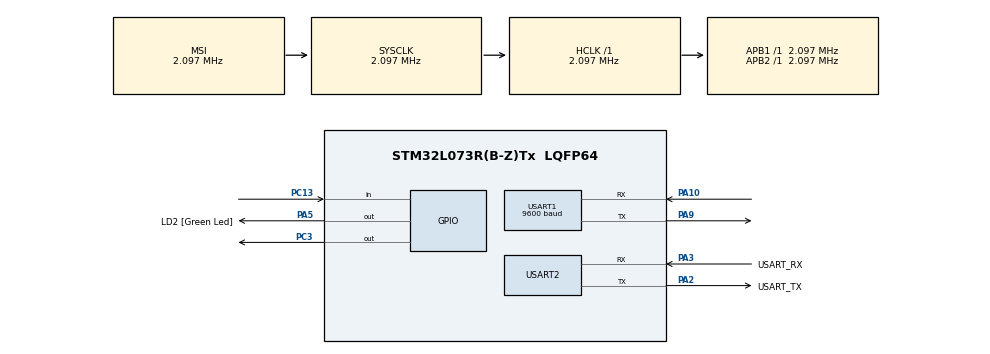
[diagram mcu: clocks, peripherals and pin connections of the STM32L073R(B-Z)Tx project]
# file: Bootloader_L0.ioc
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Mcu.Family=STM32L0
Mcu.Name=STM32L073R(B-Z)Tx
Mcu.Package=LQFP64
PA10.Mode=Asynchronous
PA10.Signal=USART1_RX
PA13.GPIO_Label=TMS
PA13.Mode=Serial_Wire
PA13.Signal=SYS_SWDIO
PA14.GPIO_Label=TCK
PA14.Mode=Serial_Wire
PA14.Signal=SYS_SWCLK
PA2.GPIO_Label=USART_TX
PA2.Mode=Asynchronous
PA2.Signal=USART2_TX
PA3.GPIO_Label=USART_RX
PA3.Mode=Asynchronous
PA3.Signal=USART2_RX
PA5.GPIO_Label=LD2 [Green Led]
PA5.Signal=GPIO_Output
PA9.Mode=Asynchronous
PA9.Signal=USART1_TX
PC13.Signal=GPIO_Input
PC14-OSC32_IN.Mode=LSE-External-Oscillator
PC14-OSC32_IN.Signal=RCC_OSC32_IN
PC15-OSC32_OUT.Mode=LSE-External-Oscillator
PC15-OSC32_OUT.Signal=RCC_OSC32_OUT
PC3.Signal=GPIO_Output
PH0-OSC_IN.GPIO_Label=MCO
PH0-OSC_IN.Mode=HSE-External-Clock-Source
PH0-OSC_IN.Signal=RCC_OSC_IN
ProjectManager.HeapSize=0x200
ProjectManager.StackSize=0x400
ProjectManager.TargetToolchain=STM32CubeIDE
RCC.AHBFreq_Value=2097000
RCC.APB1Freq_Value=2097000
RCC.APB1TimFreq_Value=2097000
RCC.APB2Freq_Value=2097000
RCC.APB2TimFreq_Value=2097000
RCC.HSE_VALUE=8000000
RCC.HSI16_VALUE=16000000
RCC.HSI48_VALUE=48000000
RCC.HSI_VALUE=16000000
RCC.MSI_VALUE=2097000
RCC.SYSCLKFreq_VALUE=2097000
RCC.VCOOutputFreq_Value=48000000
USART1.BaudRate=9600
USART1.VirtualMode-Asynchronous=VM_ASYNC
USART2.VirtualMode-Asynchronous=VM_ASYNC
board=NUCLEO-L073RZ

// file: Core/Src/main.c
/* USER CODE BEGIN Header */
/**
  ******************************************************************************
  * @file           : main.c
  * @brief          : Main program body
  * @Editor			: B.H.M.Imdaad
  ******************************************************************************
  * @attention
  *
  * <h2><center>&copy; Copyright (c) 2021 STMicroelectronics.
  * All rights reserved.</center></h2>
  *
  * This software component is licensed by ST under BSD 3-Clause license,
  * the "License"; You may not use this file except in compliance with the
  * License. You may obtain a copy of the License at:
  *                        opensource.org/licenses/BSD-3-Clause
  *
  ******************************************************************************
  */

 /*
  * STM32L0 Flash Partition  	 size  	  size in hex	  starting address
  * Total Flash-----------------192KB-------0x30000---------0x08000000
  * Bootloader-------------------32KB-------0x08000---------0x08000000
  * User Application-------------80KB-------0x14000---------0x08008000
  * OTA Firmware-----------------80KB-------0x14000---------0x0801C000
  */

/* USER CODE END Header */
#include "main.h"
/* USER CODE BEGIN Includes */
#include "gsm.h"
/* USER CODE END Includes */

/* USER CODE BEGIN PM */
uint8_t downloadedData[MAX_DOWNLOAD_SIZE+100];
uint32_t flashPageBuffer[FLASH_PAGE_SIZE>>2]; //4*32=128
FLASH_EraseInitTypeDef eraseInitStruct;
HAL_StatusTypeDef state;

uint8_t noOfLoops;

uint16_t DOWNLOAD_SIZE, digits1, digits2, uRLStart, pages, erasePages;

uint32_t currentAddress, endAddress, currentUserAdd, currentOtaAdd, firmwareSize;
/* USER CODE END PM */

UART_HandleTypeDef huart1;
UART_HandleTypeDef huart2;

/* USER CODE BEGIN PV */
GPIO_PinState OTAState;

uint8_t loopNo=0;
uint8_t count = 0;

uint16_t last = 0;
uint16_t cnt = 0;
uint16_t startHTTP = 0;
uint16_t currentPage = 0;
uint16_t extraSize = 0;

uint32_t  pageError = 0;
/* USER CODE END PV */

void SystemClock_Config(void);
static void MX_GPIO_Init(void);
static void MX_USART2_UART_Init(void);
static void MX_USART1_UART_Init(void);

int main(void)
{

  /* MCU Configuration--------------------------------------------------------*/

  /* Reset of all peripherals, Initializes the Flash interface and the Systick. */
  HAL_Init();

  /* Configure the system clock */
  SystemClock_Config();

  /* Initialize all configured peripherals */
  MX_GPIO_Init();
  MX_USART2_UART_Init();
  MX_USART1_UART_Init();
  /* USER CODE BEGIN 2 */

  OTAState = HAL_GPIO_ReadPin(GPIOC, GPIO_PIN_13);
  if (OTAState == GPIO_PIN_RESET){
	  /* turnOn GSM and initialize it.
	   */
	  Power_Toggle();
	  GSM_Init();

	  /* firmware may not end exactly at the end of a flash page.
	   * it need to be handled.
	   */
	  if(firmwareSize%FLASH_PAGE_SIZE!=0){
		  last = firmwareSize%FLASH_PAGE_SIZE;
	  }

	  /* at once only a MAX_DOWNLOAD_SIZE is downloaded. need to handle the rest
	   */
	  if(firmwareSize%MAX_DOWNLOAD_SIZE==0){
		  noOfLoops=firmwareSize/MAX_DOWNLOAD_SIZE;
	  }
	  else {
		  noOfLoops=(firmwareSize/MAX_DOWNLOAD_SIZE)+1;
		  extraSize=firmwareSize%MAX_DOWNLOAD_SIZE;
	  }

	  currentAddress = OTA_START_ADDRESS;

	  if(HAL_FLASH_Unlock()!=HAL_OK){
		  Power_Toggle();
		  Error_Handler();
	  }
	  /* Clear OPTVERR bit set on virgin samples */
	 __HAL_FLASH_CLEAR_FLAG(FLASH_FLAG_OPTVERR); //FLASH Option validity error flag

	  while(loopNo<noOfLoops){

		  /* while I download 32 pages at once (4096) due to bin file size it may not be divisible by 4k.
		   * it needed to handled.
		   * I write 32 memory cells (one flash page) at once, but due to bin file size it may not always
		   * be a multiple of flash pages. that even need to be handled.
		   * for an example 7188 incoming file, 3092 will be the size to download after 4096.
		   * then 20 will be the modulus flash page value.
		   */
		  if (extraSize && (loopNo==(noOfLoops-1))){
			  DOWNLOAD_SIZE = extraSize;
		  }
		  else DOWNLOAD_SIZE = MAX_DOWNLOAD_SIZE;
		  endAddress = currentAddress + DOWNLOAD_SIZE;

		  /* to point at the data point in downloadedData ignoring the header bits.
		   * added error handling
		   */
		  if (startHTTP==0)digits1=1;
		  else digits1 = floor(log10(abs(startHTTP))) + 1;
		  if (DOWNLOAD_SIZE==0)digits2=1;
		  else digits2 = floor(log10(abs(DOWNLOAD_SIZE))) + 1;
		  uRLStart = HEADER_BITS+digits1+2*digits2;

		  /*
		   * Main command where data is received and filled to a buffer
		   */
		  HTTP_Read(startHTTP, DOWNLOAD_SIZE, uRLStart);

		    /* storing 4Kbs of data at max. 32 pages should be erased. 32*32 cells should be written. so 32*32*4 bytes
		     * will be written at the end
		     */
		  while(currentAddress<endAddress)
		    {
			  /* erase address points to start of a flash page
			   */
		        eraseInitStruct.TypeErase   = FLASH_TYPEERASE_PAGES;
		        eraseInitStruct.PageAddress = currentAddress;
		        eraseInitStruct.NbPages = 1;
		       if (HAL_FLASHEx_Erase(&eraseInitStruct, &pageError)!=HAL_OK){
		    	   Power_Toggle();
		    	   Error_Handler();
		       }

		       /* fill the buffer casting 4 bytes to one slot
		        */
		       for(cnt=0; cnt<(FLASH_PAGE_SIZE>>2); cnt++)
		       {
		      	 flashPageBuffer[cnt]=
		      			 downloadedData[uRLStart+3] << 24 |
						 downloadedData[uRLStart+2] << 16 |
						 downloadedData[uRLStart+1] << 8 |
						 downloadedData[uRLStart];
		      	 uRLStart+=4;
		       }

		       /* considering last value at final loop write to flash. else write 1 flash page
		        */
		       if (count++==(DOWNLOAD_SIZE/FLASH_PAGE_SIZE) && last!=0 && DOWNLOAD_SIZE == extraSize){
			       for(cnt = 0; cnt<last;cnt+=4) {
			         if(HAL_FLASH_Program(FLASH_TYPEPROGRAM_WORD, currentAddress+cnt, flashPageBuffer[cnt>>2])!=HAL_OK){
			        	 Power_Toggle();
			        	 Error_Handler();
			         }
			       }
		       }
		       else{
			       for(cnt = 0; cnt<FLASH_PAGE_SIZE;cnt+=4) {
			         if(HAL_FLASH_Program(FLASH_TYPEPROGRAM_WORD, currentAddress+cnt, flashPageBuffer[cnt>>2])!=HAL_OK){
			        	 Power_Toggle();
			        	 Error_Handler();
			         }
			       }
		       }

		       /* update the current address to point at next flash page
		        */
		       memset(flashPageBuffer, 0, sizeof(flashPageBuffer));
		       currentAddress+=FLASH_PAGE_SIZE;
		    }

		count=0;
		memset(downloadedData, 0, (MAX_DOWNLOAD_SIZE+100));
		startHTTP += DOWNLOAD_SIZE;
		loopNo++;
		HAL_GPIO_WritePin(LD2_GPIO_Port, LD2_Pin, GPIO_PIN_SET);
		HAL_Delay(50);
		HAL_GPIO_WritePin(LD2_GPIO_Port, LD2_Pin, GPIO_PIN_RESET);
	  }

	  /* after finishing writing the flash turn off the gsm module
	   */
	  Power_Toggle();
	  if(HAL_FLASH_Lock()!=HAL_OK){
		  Error_Handler();
	  }

	  /*
	   * after validating the firmware downloaded, user application need to be replaced
	   */
	  if (OTA_Validation()){

		  if (firmwareSize%FLASH_PAGE_SIZE==0)pages = firmwareSize/FLASH_PAGE_SIZE;
		  else pages = (firmwareSize/FLASH_PAGE_SIZE)+1;

		  currentOtaAdd = OTA_START_ADDRESS;
		  currentUserAdd = USER_START_ADDRESS;

		  if(HAL_FLASH_Unlock()!=HAL_OK){
			  Error_Handler();
		  }
		  __HAL_FLASH_CLEAR_FLAG(FLASH_FLAG_OPTVERR);

		  while(currentPage<pages){

			  /* read one flash page from ota firmware and fill the buffer
			   */
			  for(cnt=0;cnt<(FLASH_PAGE_SIZE>>2);cnt++){
				  flashPageBuffer[cnt] = *(uint32_t *)(currentOtaAdd);
				  currentOtaAdd+=4;
			  }

			  /* erase one flash page from user application
			   */
		      eraseInitStruct.TypeErase   = FLASH_TYPEERASE_PAGES;
		      eraseInitStruct.PageAddress = currentUserAdd;
		      eraseInitStruct.NbPages = 1;
		       if (HAL_FLASHEx_Erase(&eraseInitStruct, &pageError)!=HAL_OK){
		    	   Error_Handler();
		       }

		      /* write one flash page in user application section
		       */
		      for(cnt=0;cnt<(FLASH_PAGE_SIZE>>2);cnt++) {
		        if (HAL_FLASH_Program(FLASH_TYPEPROGRAM_WORD, currentUserAdd, flashPageBuffer[cnt])!=HAL_OK){
		        	Error_Handler();
		        }
		        currentUserAdd+=4;
		      }

		      currentPage++;
		  }

		  /* erase the rest of the pages in bank 01 after ota firmware has replaced user application.
		   * if erase successful then restart the MCU. Device will start from user application!
		   */
		  erasePages = ((FLASH_SIZE/2)-currentUserAdd+FLASH_START_ADDRESS)/FLASH_PAGE_SIZE;
		  eraseInitStruct.TypeErase   = FLASH_TYPEERASE_PAGES;
		  eraseInitStruct.PageAddress = currentUserAdd;
		  eraseInitStruct.NbPages = erasePages;
		  HAL_FLASHEx_Erase(&eraseInitStruct, &pageError);
		  HAL_FLASH_Lock();
		  HAL_NVIC_SystemReset();
	  }
	  else Error_Handler();
  }

  else {
  typedef  void (*pFunction)(void);
  pFunction JumpToApplication;
  uint32_t JumpAddress;
  /* reset all interrupts to default */
  //__disable_irq();
  /* Jump to system memory, initalize program counter */
  JumpAddress = *(__IO uint32_t*) (USER_START_ADDRESS+4);
  JumpToApplication = (pFunction) JumpAddress;
  /* Initialize user application's Stack Pointer */
  __set_MSP(*(__IO uint32_t*) USER_START_ADDRESS);
  JumpToApplication();
  }
  /* USER CODE END 2 */

  /* Infinite loop */
  while (1)
  {

  }
}

void SystemClock_Config(void)
{
  RCC_OscInitTypeDef RCC_OscInitStruct = {0};
  RCC_ClkInitTypeDef RCC_ClkInitStruct = {0};
  RCC_PeriphCLKInitTypeDef PeriphClkInit = {0};

  /** Configure the main internal regulator output voltage
  */
  __HAL_PWR_VOLTAGESCALING_CONFIG(PWR_REGULATOR_VOLTAGE_SCALE1);
  /** Initializes the RCC Oscillators according to the specified parameters
  * in the RCC_OscInitTypeDef structure.
  */
  RCC_OscInitStruct.OscillatorType = RCC_OSCILLATORTYPE_MSI;
  RCC_OscInitStruct.MSIState = RCC_MSI_ON;
  RCC_OscInitStruct.MSICalibrationValue = 0;
  RCC_OscInitStruct.MSIClockRange = RCC_MSIRANGE_5;
  RCC_OscInitStruct.PLL.PLLState = RCC_PLL_NONE;
  if (HAL_RCC_OscConfig(&RCC_OscInitStruct) != HAL_OK)
  {
    Error_Handler();
  }
  /** Initializes the CPU, AHB and APB buses clocks
  */
  RCC_ClkInitStruct.ClockType = RCC_CLOCKTYPE_HCLK|RCC_CLOCKTYPE_SYSCLK
                              |RCC_CLOCKTYPE_PCLK1|RCC_CLOCKTYPE_PCLK2;
  RCC_ClkInitStruct.SYSCLKSource = RCC_SYSCLKSOURCE_MSI;
  RCC_ClkInitStruct.AHBCLKDivider = RCC_SYSCLK_DIV1;
  RCC_ClkInitStruct.APB1CLKDivider = RCC_HCLK_DIV1;
  RCC_ClkInitStruct.APB2CLKDivider = RCC_HCLK_DIV1;

  if (HAL_RCC_ClockConfig(&RCC_ClkInitStruct, FLASH_LATENCY_0) != HAL_OK)
  {
    Error_Handler();
  }
  PeriphClkInit.PeriphClockSelection = RCC_PERIPHCLK_USART1|RCC_PERIPHCLK_USART2;
  PeriphClkInit.Usart1ClockSelection = RCC_USART1CLKSOURCE_PCLK2;
  PeriphClkInit.Usart2ClockSelection = RCC_USART2CLKSOURCE_PCLK1;
  if (HAL_RCCEx_PeriphCLKConfig(&PeriphClkInit) != HAL_OK)
  {
    Error_Handler();
  }
}

static void MX_USART1_UART_Init(void)
{

  huart1.Instance = USART1;
  huart1.Init.BaudRate = 9600;
  huart1.Init.WordLength = UART_WORDLENGTH_8B;
  huart1.Init.StopBits = UART_STOPBITS_1;
  huart1.Init.Parity = UART_PARITY_NONE;
  huart1.Init.Mode = UART_MODE_TX_RX;
  huart1.Init.HwFlowCtl = UART_HWCONTROL_NONE;
  huart1.Init.OverSampling = UART_OVERSAMPLING_16;
  huart1.Init.OneBitSampling = UART_ONE_BIT_SAMPLE_DISABLE;
  huart1.AdvancedInit.AdvFeatureInit = UART_ADVFEATURE_NO_INIT;
  if (HAL_UART_Init(&huart1) != HAL_OK)
  {
    Error_Handler();
  }

}

static void MX_USART2_UART_Init(void)
{

  huart2.Instance = USART2;
  huart2.Init.BaudRate = 115200;
  huart2.Init.WordLength = UART_WORDLENGTH_8B;
  huart2.Init.StopBits = UART_STOPBITS_1;
  huart2.Init.Parity = UART_PARITY_NONE;
  huart2.Init.Mode = UART_MODE_TX_RX;
  huart2.Init.HwFlowCtl = UART_HWCONTROL_NONE;
  huart2.Init.OverSampling = UART_OVERSAMPLING_16;
  huart2.Init.OneBitSampling = UART_ONE_BIT_SAMPLE_DISABLE;
  huart2.AdvancedInit.AdvFeatureInit = UART_ADVFEATURE_NO_INIT;
  if (HAL_UART_Init(&huart2) != HAL_OK)
  {
    Error_Handler();
  }

}

static void MX_GPIO_Init(void)
{
  GPIO_InitTypeDef GPIO_InitStruct = {0};

  /* GPIO Ports Clock Enable */
  __HAL_RCC_GPIOC_CLK_ENABLE();
  __HAL_RCC_GPIOH_CLK_ENABLE();
  __HAL_RCC_GPIOA_CLK_ENABLE();

  /*Configure GPIO pin Output Level */
  HAL_GPIO_WritePin(GPIOC, GPIO_PIN_3, GPIO_PIN_RESET);

  /*Configure GPIO pin Output Level */
  HAL_GPIO_WritePin(LD2_GPIO_Port, LD2_Pin, GPIO_PIN_RESET);

  /*Configure GPIO pin : PC13 */
  GPIO_InitStruct.Pin = GPIO_PIN_13;
  GPIO_InitStruct.Mode = GPIO_MODE_INPUT;
  GPIO_InitStruct.Pull = GPIO_PULLUP;
  HAL_GPIO_Init(GPIOC, &GPIO_InitStruct);

  /*Configure GPIO pin : PC3 */
  GPIO_InitStruct.Pin = GPIO_PIN_3;
  GPIO_InitStruct.Mode = GPIO_MODE_OUTPUT_PP;
  GPIO_InitStruct.Pull = GPIO_NOPULL;
  GPIO_InitStruct.Speed = GPIO_SPEED_FREQ_LOW;
  HAL_GPIO_Init(GPIOC, &GPIO_InitStruct);

  /*Configure GPIO pin : LD2_Pin */
  GPIO_InitStruct.Pin = LD2_Pin;
  GPIO_InitStruct.Mode = GPIO_MODE_OUTPUT_PP;
  GPIO_InitStruct.Pull = GPIO_NOPULL;
  GPIO_InitStruct.Speed = GPIO_SPEED_FREQ_LOW;
  HAL_GPIO_Init(LD2_GPIO_Port, &GPIO_InitStruct);

}

/* USER CODE BEGIN 4 */

/* OTA firmware validation after downloading. If 0, system will indicate and run the current application.
 */
uint8_t OTA_Validation(void)
{
	///////////////////////////////////////////////////////////////////////////////////
	///////////////////////////////////////////////////////////////////////////////////
	return 1;
}
/* USER CODE END 4 */

void Error_Handler(void)
{
  /* USER CODE BEGIN Error_Handler_Debug */
  /* User can add his own implementation to report the HAL error return state */
  //__disable_irq();
  HAL_GPIO_WritePin(LD2_GPIO_Port, LD2_Pin, GPIO_PIN_SET);
  HAL_Delay(2000);
  HAL_NVIC_SystemReset();
  while (1)
  {
  }
  /* USER CODE END Error_Handler_Debug */
}

/************************ (C) COPYRIGHT STMicroelectronics *****END OF FILE****/
